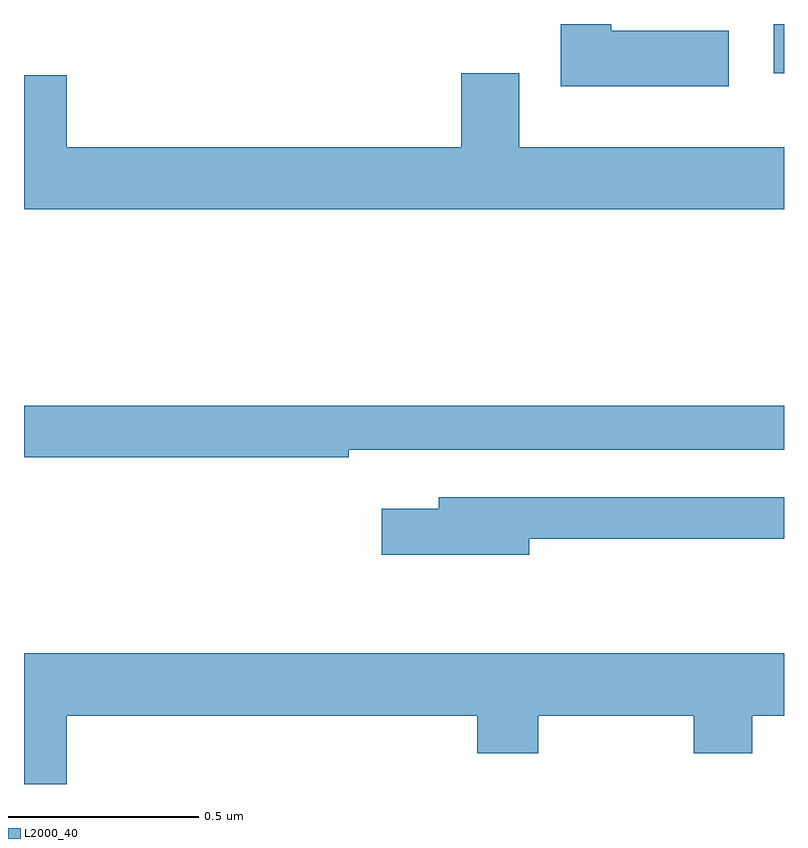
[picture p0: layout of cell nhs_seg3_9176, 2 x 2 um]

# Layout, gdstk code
import gdstk
lib = gdstk.Library(unit=1e-6, precision=1e-09)
def R(c, l, rs):  # rectangles x0, y0, x1, y1
    for r in rs: c.add(gdstk.rectangle(r[:2], r[2:], *l))
def P(c, l, *ps):  # polygons
    for p in ps: c.add(gdstk.Polygon(p, *l))
L2000_40 = (2000, 40)

nhs_seg3_9176 = lib.new_cell('nhs_seg3_9176')
R(nhs_seg3_9176, L2000_40, [(226.973,705.27,227,705.4)])
P(nhs_seg3_9176, L2000_40, [(226.855,705.382),(226.546,705.382),(226.546,705.4),(226.412,705.4),(226.412,705.236),(226.855,705.236)],
  [(227,705.076),(226.303,705.076),(226.303,705.271),(226.151,705.271),(226.151,705.076),(225.112,705.076),(225.112,705.265),(225,705.265),(225,704.912),(227,704.912)],
  [(225.854,704.28),(227,704.28),(227,704.396),(225,704.396),(225,704.26),(225.854,704.26)],
  [(226.33,704.046),(227,704.046),(227,704.154),(226.091,704.154),(226.091,704.125),(225.942,704.125),(225.942,704.003),(226.33,704.003)],
  [(225.112,703.58),(226.193,703.58),(226.193,703.481),(226.353,703.481),(226.353,703.58),(226.762,703.58),(226.762,703.481),(226.917,703.481),(226.917,703.58),(227,703.58),(227,703.744),(225,703.744),(225,703.4),(225.112,703.4)])

lib.write_gds('nhs_seg3_9176.gds')
